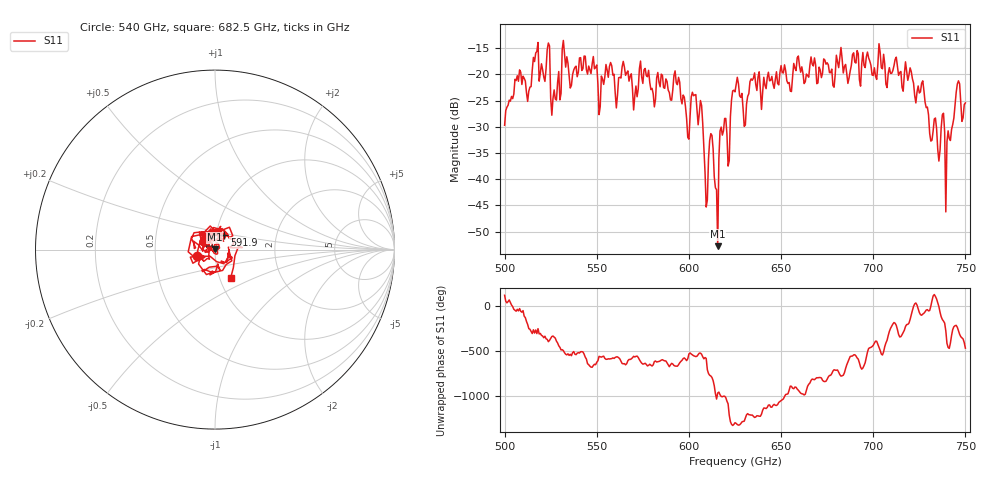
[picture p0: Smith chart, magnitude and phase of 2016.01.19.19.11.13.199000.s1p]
!Created with skrf (http://scikit-rf.org).
# GHz S RI R 50.0
!freq ReS11 ImS11
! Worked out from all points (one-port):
!   401 points, 500 GHz to 750 GHz, reference 50 ohm
!   lowest |S11| = -52.8 dB at 615.6 GHz (marker M1), VSWR 1.00, Z = 49.9 + j0.214 ohm
!   |S11| at or under -10 dB: start of sweep to end of sweep
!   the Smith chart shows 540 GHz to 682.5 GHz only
!   S11 on the Smith chart (normalised r, x): 540 GHz: 0.82, -0.06; 591.9 GHz: 1.09, +0.18; 682.5 GHz: 1.13, -0.37
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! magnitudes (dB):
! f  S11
! 500 GHz  -29.7
! 513.1 GHz  -23.2
! 516.9 GHz  -15.9
! 523.1 GHz  -15.2
! 526.2 GHz  -24.6
! 531.2 GHz  -15.2
! 540 GHz  -19.6
! 562.5 GHz  -20.5
! 591.9 GHz  -20.2
! 593.8 GHz  -21.9
! 599.4 GHz  -32.0
! 603.1 GHz  -23.9
! 606.9 GHz  -25.9
! 609.4 GHz  -45.3
! 611.9 GHz  -31.3
! 615.6 GHz  -52.8
! 618.1 GHz  -31.6
! 621.9 GHz  -36.5
! 625 GHz  -23.3
! 630.6 GHz  -29.7
! 634.4 GHz  -21.1
! 656.2 GHz  -20.4
! 682.5 GHz  -14.8
! 687.5 GHz  -19.4
! 718.8 GHz  -21.1
! 740.6 GHz  -30.8
! 745.6 GHz  -21.8
! 750 GHz  -25.4
